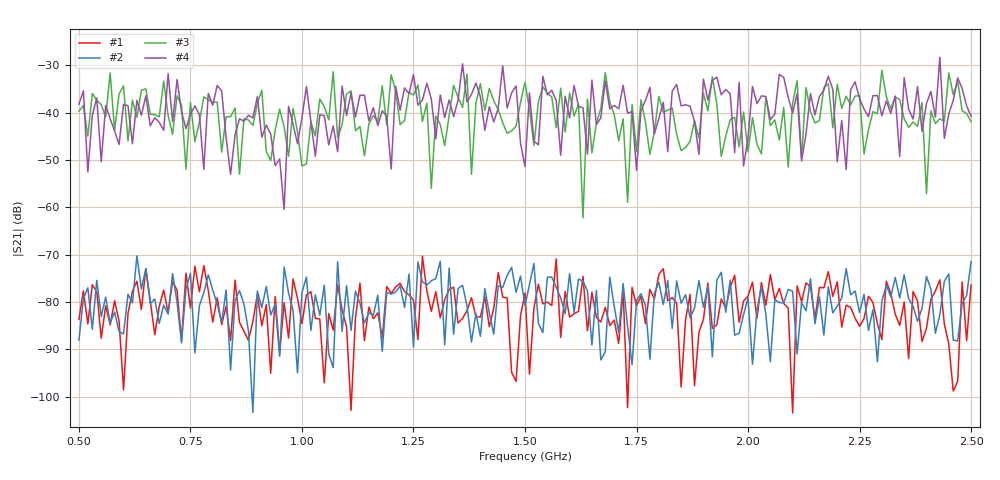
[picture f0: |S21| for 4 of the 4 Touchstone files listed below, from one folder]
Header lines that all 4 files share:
!Keysight Technologies N9923A: A.08.18
!Timezone: (GMT-05:00) Eastern Time (US & Canada)
!Model: N9923A
!Serial: MY52412517
!GPS Latitude:
!GPS Longitude:
!GPS TimeStamp: 0001-01-01 00:00:00Z
!GPS Seconds Since Last Read: 0
!S2P File: Measurements:S11,S21,S12,S22:
# Hz S DB R 50
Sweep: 500 MHz to 2.5 GHz
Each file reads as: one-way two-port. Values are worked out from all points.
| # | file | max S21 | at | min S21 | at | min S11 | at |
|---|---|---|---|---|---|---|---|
| 1 | CAKE_22.Dec.2017.11.53.s2p | -70.32 dB | 1.27 GHz | -103.4 dB | 2.1 GHz | -32.0 dB | 1.53 GHz |
| 2 | CAN_22.Dec.2017.11.52.s2p | -70.25 dB | 630 MHz | -103.3 dB | 890 MHz | -10.9 dB | 1.75 GHz |
| 3 | RAS1_22.Dec.2017.12.08.s2p | -31.09 dB | 2.3 GHz | -62.2 dB | 1.63 GHz | -35.1 dB | 670 MHz |
| 4 | RAS2_22.Dec.2017.12.13.s2p | -28.33 dB | 2.43 GHz | -60.5 dB | 960 MHz | -25.6 dB | 1.65 GHz |
